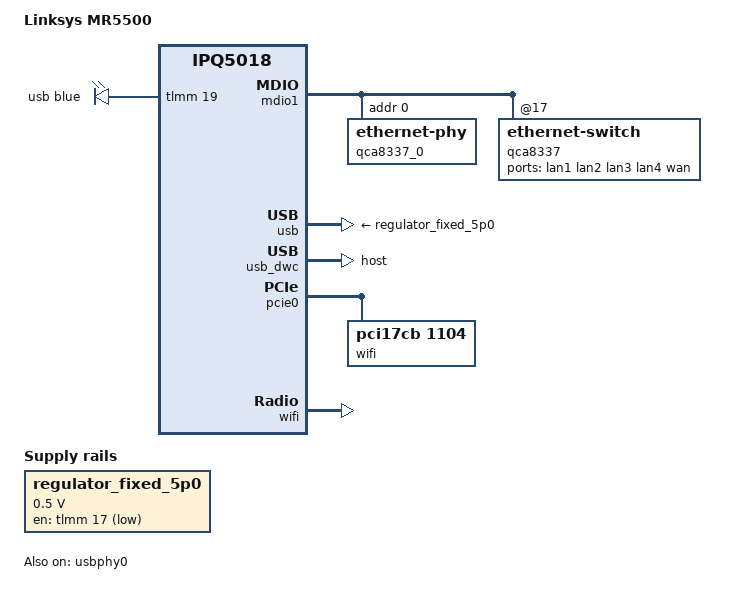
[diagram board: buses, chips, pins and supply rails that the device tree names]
// SPDX-License-Identifier: GPL-2.0-or-later OR MIT

/dts-v1/;

#include "ipq5018-mx-base.dtsi"

/ {
	model = "Linksys MR5500";
	compatible = "linksys,mr5500", "qcom,ipq5018";

	gpio-leds {
		compatible = "gpio-leds";

		usb {
			color = <LED_COLOR_ID_BLUE>;
			function = LED_FUNCTION_USB;
			gpios = <&tlmm 19 GPIO_ACTIVE_HIGH>;
			trigger-sources = <&usb_port1>;
			linux,default-trigger = "usbport";
		};
	};

	regulator_fixed_5p0: regulator-s0500 {
		compatible = "regulator-fixed";
		regulator-min-microvolt = <500000>;
		regulator-max-microvolt = <500000>;
		regulator-name = "fixed_5p0";
		gpios = <&tlmm 17 GPIO_ACTIVE_LOW>;
	};
};

&mdio1 {
	status = "okay";

	qca8337_0: ethernet-phy@0 {
		reg = <0>;
	};

	qca8337: ethernet-switch@17 {
		ports {
			#address-cells = <1>;
			#size-cells = <0>;

			port@1 {
				reg = <1>;
				label = "lan1";
				phy-handle = <&qca8337_0>;
				phy-mode = "internal";

				leds {
					led@0 {
						reg = <0>;
						color = <LED_COLOR_ID_GREEN>;
						function = LED_FUNCTION_LAN;
						default-state = "keep";
					};

					led@1 {
						reg = <1>;
						color = <LED_COLOR_ID_AMBER>;
						function = LED_FUNCTION_LAN;
						default-state = "keep";
					};
				};
			};

			port@2 {
				reg = <2>;
				label = "lan2";
				phy-handle = <&qca8337_1>;
				phy-mode = "internal";

				leds {
					led@0 {
						reg = <0>;
						color = <LED_COLOR_ID_GREEN>;
						function = LED_FUNCTION_LAN;
						default-state = "keep";
					};

					led@1 {
						reg = <1>;
						color = <LED_COLOR_ID_AMBER>;
						function = LED_FUNCTION_LAN;
						default-state = "keep";
					};
				};
			};

			port@3 {
				reg = <3>;
				label = "lan3";
				phy-handle = <&qca8337_2>;
				phy-mode = "internal";

				leds {
					led@0 {
						reg = <0>;
						color = <LED_COLOR_ID_GREEN>;
						function = LED_FUNCTION_LAN;
						default-state = "keep";
					};

					led@1 {
						reg = <1>;
						color = <LED_COLOR_ID_AMBER>;
						function = LED_FUNCTION_LAN;
						default-state = "keep";
					};
				};
			};

			port@4 {
				reg = <4>;
				label = "lan4";
				phy-handle = <&qca8337_3>;
				phy-mode = "internal";

				leds {
					led@0 {
						reg = <0>;
						color = <LED_COLOR_ID_GREEN>;
						function = LED_FUNCTION_LAN;
						default-state = "keep";
					};

					led@1 {
						reg = <1>;
						color = <LED_COLOR_ID_AMBER>;
						function = LED_FUNCTION_LAN;
						default-state = "keep";
					};
				};
			};

			port@5 {
				reg = <5>;
				label = "wan";
				phy-handle = <&qca8337_4>;
				phy-mode = "internal";

				leds {
					led@0 {
						reg = <0>;
						color = <LED_COLOR_ID_GREEN>;
						function = LED_FUNCTION_WAN;
						default-state = "keep";
					};

					led@1 {
						reg = <1>;
						color = <LED_COLOR_ID_AMBER>;
						function = LED_FUNCTION_WAN;
						default-state = "keep";
					};
				};
			};
		};
	};
};

&usbphy0 {
	status = "okay";

	vdd-supply = <&regulator_fixed_5p0>;
};

&usb {
	status = "okay";

	vbus-supply = <&regulator_fixed_5p0>;
};

&usb_dwc {
	#address-cells = <1>;
	#size-cells = <0>;
	dr_mode = "host";

	usb_port1: port@1 {
		reg = <1>;
		#trigger-source-cells = <0>;
	};
};

&pcie0 {
	status = "okay";
	perst-gpios = <&tlmm 15 GPIO_ACTIVE_LOW>;

	pcie@0 {
		wifi@0,0 {
			status = "okay";
			compatible = "pci17cb,1104";
			qcom,ath11k-fw-memory-mode = <1>;
			qcom,ath11k-calibration-variant = "Linksys-MR5500";
			reg = <0x00010000 0 0 0 0>;
		};
	};
};

&wifi {
	status = "okay";

	qcom,rproc = <&q6v5_wcss>;
	qcom,ath11k-calibration-variant = "Linksys-MR5500";
};
